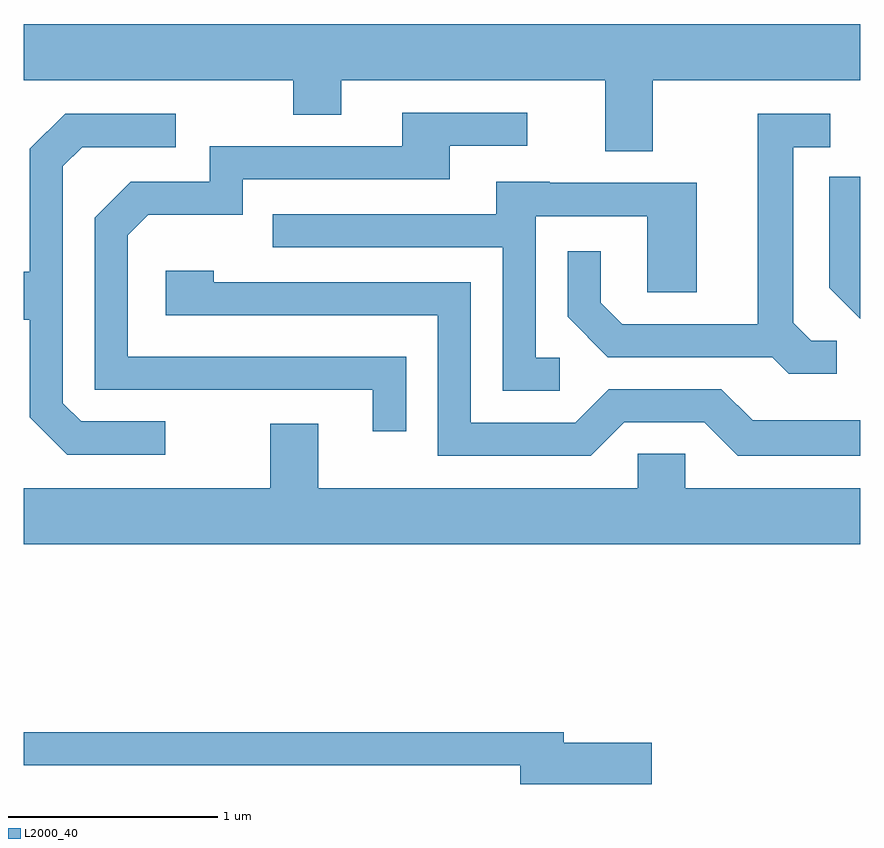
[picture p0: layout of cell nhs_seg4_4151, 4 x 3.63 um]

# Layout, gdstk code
import gdstk
lib = gdstk.Library(unit=1e-6, precision=1e-09)
def P(c, l, *ps):  # polygons
    for p in ps: c.add(gdstk.Polygon(p, *l))
L2000_40 = (2000, 40)

nhs_seg4_4151 = lib.new_cell('nhs_seg4_4151')
P(nhs_seg4_4151, L2000_40, [(310.619,1263.656),(311.611,1263.656),(311.611,1263.924),(307.611,1263.924),(307.611,1263.656),(308.901,1263.656),(308.901,1263.491),(309.129,1263.491),(309.129,1263.656),(310.391,1263.656),(310.391,1263.316),(310.619,1263.316)],
  [(309.439,1262.334),(308.109,1262.334),(308.109,1262.914),(308.207,1263.011),(308.659,1263.011),(308.659,1263.181),(309.649,1263.181),(309.649,1263.341),(310.018,1263.341),(310.018,1263.499),(309.421,1263.499),(309.421,1263.339),(308.501,1263.339),(308.501,1263.169),(308.124,1263.169),(307.951,1262.997),(307.951,1262.176),(309.281,1262.176),(309.281,1261.978),(309.439,1261.978)],
  [(311.498,1262.409),(311.377,1262.409),(311.289,1262.497),(311.289,1263.336),(311.468,1263.336),(311.468,1263.494),(311.121,1263.494),(311.121,1262.489),(310.472,1262.489),(310.369,1262.592),(310.369,1262.838),(310.211,1262.838),(310.211,1262.524),(310.404,1262.331),(311.189,1262.331),(311.269,1262.251),(311.498,1262.251)],
  [(308.288,1262.024),(307.887,1262.024),(307.799,1262.112),(307.799,1263.244),(307.892,1263.336),(308.338,1263.336),(308.338,1263.494),(307.809,1263.494),(307.641,1263.327),(307.641,1262.739),(307.611,1262.739),(307.611,1262.511),(307.641,1262.511),(307.641,1262.044),(307.819,1261.866),(308.288,1261.866)],
  [(311.611,1263.193),(311.461,1263.193),(311.461,1262.664),(311.611,1262.514)],
  [(310.173,1262.329),(310.059,1262.329),(310.059,1263.006),(310.591,1263.006),(310.591,1262.641),(310.829,1262.641),(310.829,1263.164),(310.125,1263.164),(310.125,1263.169),(309.871,1263.169),(309.871,1263.014),(308.803,1263.014),(308.803,1262.856),(309.901,1262.856),(309.901,1262.171),(310.173,1262.171)],
  [(310.482,1262.021),(310.864,1262.021),(311.024,1261.861),(311.611,1261.861),(311.611,1262.029),(311.097,1262.029),(310.947,1262.179),(310.409,1262.179),(310.249,1262.019),(309.749,1262.019),(309.749,1262.689),(308.519,1262.689),(308.519,1262.744),(308.291,1262.744),(308.291,1262.531),(309.591,1262.531),(309.591,1261.861),(310.322,1261.861)],
  [(311.611,1261.704),(310.774,1261.704),(310.774,1261.869),(310.546,1261.869),(310.546,1261.704),(309.019,1261.704),(309.019,1262.014),(308.791,1262.014),(308.791,1261.704),(307.611,1261.704),(307.611,1261.436),(311.611,1261.436)],
  [(310.614,1260.489),(310.194,1260.489),(310.194,1260.539),(307.611,1260.539),(307.611,1260.381),(309.986,1260.381),(309.986,1260.291),(310.614,1260.291)])

lib.write_gds('nhs_seg4_4151.gds')
